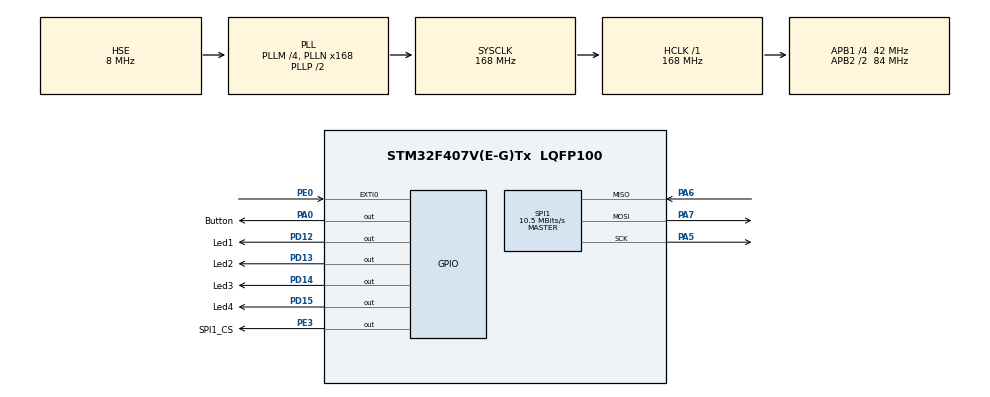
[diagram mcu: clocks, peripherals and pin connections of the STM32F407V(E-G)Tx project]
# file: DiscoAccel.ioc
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Mcu.Family=STM32F4
Mcu.Name=STM32F407V(E-G)Tx
Mcu.Package=LQFP100
NVIC.EXTI0_IRQn=true\:0\:0\:false\:false\:true\:true\:true
NVIC.PriorityGroup=NVIC_PRIORITYGROUP_4
PA0-WKUP.GPIO_Label=Button
PA0-WKUP.Signal=GPIO_Output
PA5.Mode=Full_Duplex_Master
PA5.Signal=SPI1_SCK
PA6.Mode=Full_Duplex_Master
PA6.Signal=SPI1_MISO
PA7.Mode=Full_Duplex_Master
PA7.Signal=SPI1_MOSI
PD12.GPIO_Label=Led1
PD12.Signal=GPIO_Output
PD13.GPIO_Label=Led2
PD13.Signal=GPIO_Output
PD14.GPIO_Label=Led3
PD14.Signal=GPIO_Output
PD15.GPIO_Label=Led4
PD15.Signal=GPIO_Output
PE0.Signal=GPXTI0
PE3.GPIO_Label=SPI1_CS
PE3.Signal=GPIO_Output
PH0-OSC_IN.Mode=HSE-External-Oscillator
PH0-OSC_IN.Signal=RCC_OSC_IN
PH1-OSC_OUT.Mode=HSE-External-Oscillator
PH1-OSC_OUT.Signal=RCC_OSC_OUT
ProjectManager.HeapSize=0x200
ProjectManager.StackSize=0x400
ProjectManager.TargetToolchain=MDK-ARM V5.27
RCC.48MHZClocksFreq_Value=84000000
RCC.AHBFreq_Value=168000000
RCC.APB1CLKDivider=RCC_HCLK_DIV4
RCC.APB1Freq_Value=42000000
RCC.APB1TimFreq_Value=84000000
RCC.APB2CLKDivider=RCC_HCLK_DIV2
RCC.APB2Freq_Value=84000000
RCC.APB2TimFreq_Value=168000000
RCC.CortexFreq_Value=168000000
RCC.HCLKFreq_Value=168000000
RCC.HSE_VALUE=8000000
RCC.HSI_VALUE=16000000
RCC.LSE_VALUE=32768
RCC.PLLM=4
RCC.PLLN=168
RCC.PLLSourceVirtual=RCC_PLLSOURCE_HSE
RCC.SYSCLKFreq_VALUE=168000000
RCC.SYSCLKSource=RCC_SYSCLKSOURCE_PLLCLK
RCC.VCOOutputFreq_Value=336000000
SPI1.BaudRatePrescaler=SPI_BAUDRATEPRESCALER_8
SPI1.CalculateBaudRate=10.5 MBits/s
SPI1.Direction=SPI_DIRECTION_2LINES
SPI1.Mode=SPI_MODE_MASTER
SPI1.VirtualType=VM_MASTER
board=custom

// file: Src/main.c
/* USER CODE BEGIN Header */
/**
  ******************************************************************************
  * @file           : main.c
  * @brief          : Main program body
  ******************************************************************************
  * @attention
  *
  * <h2><center>&copy; Copyright (c) 2020 STMicroelectronics.
  * All rights reserved.</center></h2>
  *
  * This software component is licensed by ST under BSD 3-Clause license,
  * the "License"; You may not use this file except in compliance with the
  * License. You may obtain a copy of the License at:
  *                        opensource.org/licenses/BSD-3-Clause
  *
  ******************************************************************************
  */
/* USER CODE END Header */

#include "main.h"

/* USER CODE BEGIN Includes */
#include "MY_LIS3DSH.h"
#include "math.h"
/* USER CODE END Includes */

SPI_HandleTypeDef hspi1;

void SystemClock_Config(void);
static void MX_GPIO_Init(void);
static void MX_SPI1_Init(void);

/* USER CODE BEGIN 0 */

LIS3DSH_DataScaled scaled;
uint8_t DataReadyFlag=0;
/* USER CODE END 0 */

int main(void)
{
  /* USER CODE BEGIN 1 */
LIS3DSH_InitTypeDef conf;
  /* USER CODE END 1 */

  /* MCU Configuration--------------------------------------------------------*/

  /* Reset of all peripherals, Initializes the Flash interface and the Systick. */
  HAL_Init();

  /* Configure the system clock */
  SystemClock_Config();

  /* Initialize all configured peripherals */
  MX_GPIO_Init();
  MX_SPI1_Init();
  /* USER CODE BEGIN 2 */

	//1.	Library configuration....................
	conf.dataRate = LIS3DSH_DATARATE_50;
	conf.fullScale = LIS3DSH_FULLSCALE_8;
	conf.antiAliasingBW = LIS3DSH_FILTER_BW_50;
	conf.enableAxes = LIS3DSH_XYZ_ENABLE;
	conf.interruptEnable = true;
	//2.	Library init.............................
	LIS3DSH_Init(&hspi1, &conf);
	//7.	Calibrate the axes.......................
	LIS3DSH_X_calibrate(-1000.0, +1000.0);
	LIS3DSH_Y_calibrate(-1000.0, +1000.0);
	LIS3DSH_Z_calibrate(-1000.0, +1000.0);
  /* USER CODE END 2 */

  /* Infinite loop */
  /* USER CODE BEGIN WHILE */
  while (1)
  {
		//*************NOTe: calibrate the leds****************\\
    /* USER CODE END WHILE */

    /* USER CODE BEGIN 3 */
		//3. Is Data ready?.......................Is Flag Oky?
		if(DataReadyFlag == 1)
		{
			//6. Reset the flag .......................
			DataReadyFlag = 0;
			//4. Get scaledData .......................
			scaled = LIS3DSH_GetDataScaled();
		//	HAL_GPIO_TogglePin(GPIOD, Led4_Pin);
			if(scaled.x > 15.2f)
			{
				HAL_GPIO_WritePin(GPIOD, Led1_Pin, GPIO_PIN_RESET);

				HAL_GPIO_TogglePin(GPIOD, Led3_Pin);
				HAL_Delay(10000/fabs(scaled.x));
			}
			if(scaled.x < 20.0f)
			{
				HAL_GPIO_WritePin(GPIOD, Led3_Pin, GPIO_PIN_RESET);

				HAL_GPIO_TogglePin(GPIOD, Led1_Pin);
				HAL_Delay(10000/fabs(scaled.x));
			}
			if(scaled.y > 30.0f)
			{
				HAL_GPIO_WritePin(GPIOD, Led4_Pin, GPIO_PIN_RESET);

				HAL_GPIO_TogglePin(GPIOD, Led2_Pin);
				HAL_Delay(10000/fabs(scaled.y));
			}
			if(scaled.y < 20.0f)
			{
				HAL_GPIO_WritePin(GPIOD, Led2_Pin, GPIO_PIN_RESET);

				HAL_GPIO_TogglePin(GPIOD, Led4_Pin);
				HAL_Delay(10000/fabs(scaled.y));
			}
//			else
//			{
//				HAL_GPIO_TogglePin(GPIOD, GPIO_PIN_All);
//				HAL_Delay(1000);
//			}

		}

  }
  /* USER CODE END 3 */
}

void SystemClock_Config(void)
{
  RCC_OscInitTypeDef RCC_OscInitStruct = {0};
  RCC_ClkInitTypeDef RCC_ClkInitStruct = {0};

  /** Configure the main internal regulator output voltage
  */
  __HAL_RCC_PWR_CLK_ENABLE();
  __HAL_PWR_VOLTAGESCALING_CONFIG(PWR_REGULATOR_VOLTAGE_SCALE1);
  /** Initializes the CPU, AHB and APB busses clocks
  */
  RCC_OscInitStruct.OscillatorType = RCC_OSCILLATORTYPE_HSE;
  RCC_OscInitStruct.HSEState = RCC_HSE_ON;
  RCC_OscInitStruct.PLL.PLLState = RCC_PLL_ON;
  RCC_OscInitStruct.PLL.PLLSource = RCC_PLLSOURCE_HSE;
  RCC_OscInitStruct.PLL.PLLM = 4;
  RCC_OscInitStruct.PLL.PLLN = 168;
  RCC_OscInitStruct.PLL.PLLP = RCC_PLLP_DIV2;
  RCC_OscInitStruct.PLL.PLLQ = 4;
  if (HAL_RCC_OscConfig(&RCC_OscInitStruct) != HAL_OK)
  {
    Error_Handler();
  }
  /** Initializes the CPU, AHB and APB busses clocks
  */
  RCC_ClkInitStruct.ClockType = RCC_CLOCKTYPE_HCLK|RCC_CLOCKTYPE_SYSCLK
                              |RCC_CLOCKTYPE_PCLK1|RCC_CLOCKTYPE_PCLK2;
  RCC_ClkInitStruct.SYSCLKSource = RCC_SYSCLKSOURCE_PLLCLK;
  RCC_ClkInitStruct.AHBCLKDivider = RCC_SYSCLK_DIV1;
  RCC_ClkInitStruct.APB1CLKDivider = RCC_HCLK_DIV4;
  RCC_ClkInitStruct.APB2CLKDivider = RCC_HCLK_DIV2;

  if (HAL_RCC_ClockConfig(&RCC_ClkInitStruct, FLASH_LATENCY_5) != HAL_OK)
  {
    Error_Handler();
  }
}

static void MX_SPI1_Init(void)
{

  /* SPI1 parameter configuration*/
  hspi1.Instance = SPI1;
  hspi1.Init.Mode = SPI_MODE_MASTER;
  hspi1.Init.Direction = SPI_DIRECTION_2LINES;
  hspi1.Init.DataSize = SPI_DATASIZE_8BIT;
  hspi1.Init.CLKPolarity = SPI_POLARITY_LOW;
  hspi1.Init.CLKPhase = SPI_PHASE_1EDGE;
  hspi1.Init.NSS = SPI_NSS_SOFT;
  hspi1.Init.BaudRatePrescaler = SPI_BAUDRATEPRESCALER_8;
  hspi1.Init.FirstBit = SPI_FIRSTBIT_MSB;
  hspi1.Init.TIMode = SPI_TIMODE_DISABLE;
  hspi1.Init.CRCCalculation = SPI_CRCCALCULATION_DISABLE;
  hspi1.Init.CRCPolynomial = 10;
  if (HAL_SPI_Init(&hspi1) != HAL_OK)
  {
    Error_Handler();
  }

}

static void MX_GPIO_Init(void)
{
  GPIO_InitTypeDef GPIO_InitStruct = {0};

  /* GPIO Ports Clock Enable */
  __HAL_RCC_GPIOE_CLK_ENABLE();
  __HAL_RCC_GPIOH_CLK_ENABLE();
  __HAL_RCC_GPIOA_CLK_ENABLE();
  __HAL_RCC_GPIOD_CLK_ENABLE();

  /*Configure GPIO pin Output Level */
  HAL_GPIO_WritePin(SPI1_CS_GPIO_Port, SPI1_CS_Pin, GPIO_PIN_RESET);

  /*Configure GPIO pin Output Level */
  HAL_GPIO_WritePin(Button_GPIO_Port, Button_Pin, GPIO_PIN_RESET);

  /*Configure GPIO pin Output Level */
  HAL_GPIO_WritePin(GPIOD, Led1_Pin|Led2_Pin|Led3_Pin|Led4_Pin, GPIO_PIN_RESET);

  /*Configure GPIO pin : SPI1_CS_Pin */
  GPIO_InitStruct.Pin = SPI1_CS_Pin;
  GPIO_InitStruct.Mode = GPIO_MODE_OUTPUT_PP;
  GPIO_InitStruct.Pull = GPIO_NOPULL;
  GPIO_InitStruct.Speed = GPIO_SPEED_FREQ_LOW;
  HAL_GPIO_Init(SPI1_CS_GPIO_Port, &GPIO_InitStruct);

  /*Configure GPIO pin : Button_Pin */
  GPIO_InitStruct.Pin = Button_Pin;
  GPIO_InitStruct.Mode = GPIO_MODE_OUTPUT_PP;
  GPIO_InitStruct.Pull = GPIO_NOPULL;
  GPIO_InitStruct.Speed = GPIO_SPEED_FREQ_LOW;
  HAL_GPIO_Init(Button_GPIO_Port, &GPIO_InitStruct);

  /*Configure GPIO pins : Led1_Pin Led2_Pin Led3_Pin Led4_Pin */
  GPIO_InitStruct.Pin = Led1_Pin|Led2_Pin|Led3_Pin|Led4_Pin;
  GPIO_InitStruct.Mode = GPIO_MODE_OUTPUT_PP;
  GPIO_InitStruct.Pull = GPIO_NOPULL;
  GPIO_InitStruct.Speed = GPIO_SPEED_FREQ_LOW;
  HAL_GPIO_Init(GPIOD, &GPIO_InitStruct);

  /*Configure GPIO pin : PE0 */
  GPIO_InitStruct.Pin = GPIO_PIN_0;
  GPIO_InitStruct.Mode = GPIO_MODE_IT_RISING;
  GPIO_InitStruct.Pull = GPIO_NOPULL;
  HAL_GPIO_Init(GPIOE, &GPIO_InitStruct);

  /* EXTI interrupt init*/
  HAL_NVIC_SetPriority(EXTI0_IRQn, 0, 0);
  HAL_NVIC_EnableIRQ(EXTI0_IRQn);

}

/* USER CODE BEGIN 4 */
void HAL_GPIO_EXTI_Callback(uint16_t GPIO_Pin)
{
  /* Prevent unused argument(s) compilation warning */
  UNUSED(GPIO_Pin);
  /* NOTE: This function Should not be modified, when the callback is needed,
           the HAL_GPIO_EXTI_Callback could be implemented in the user file
   */
	DataReadyFlag = 1;
	//HAL_GPIO_TogglePin(GPIOD, Led3_Pin);
}
/* USER CODE END 4 */

void Error_Handler(void)
{
}

/************************ (C) COPYRIGHT STMicroelectronics *****END OF FILE****/
